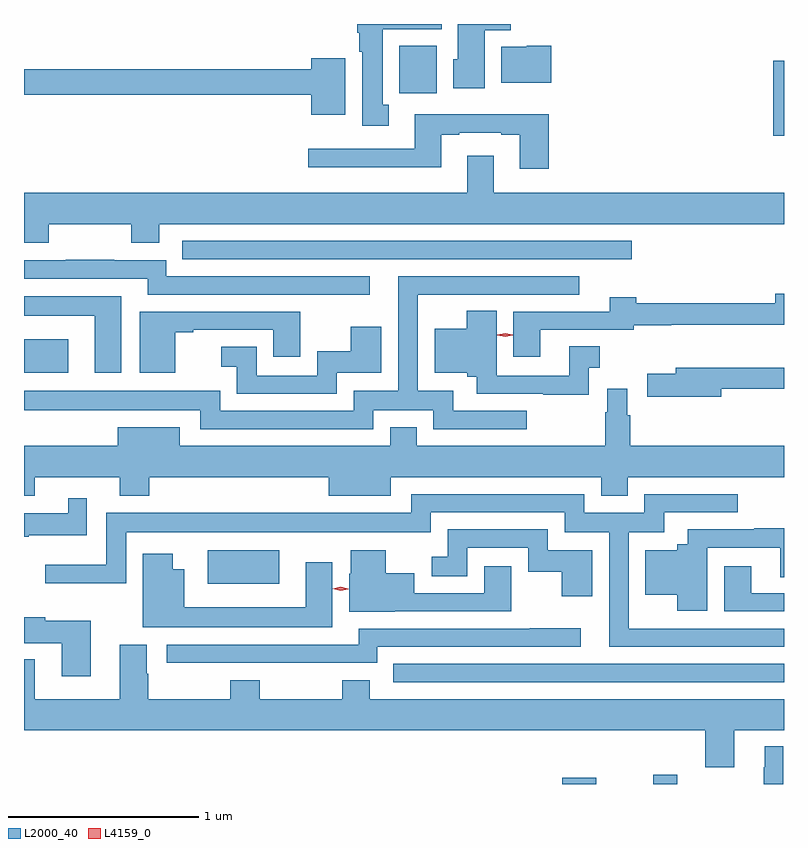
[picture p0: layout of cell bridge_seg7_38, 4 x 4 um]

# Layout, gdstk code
import gdstk
lib = gdstk.Library(unit=1e-6, precision=1e-09)
def R(c, l, rs):  # rectangles x0, y0, x1, y1
    for r in rs: c.add(gdstk.rectangle(r[:2], r[2:], *l))
def P(c, l, *ps):  # polygons
    for p in ps: c.add(gdstk.Polygon(p, *l))
L2000_40 = (2000, 40)
L4159_0 = (4159, 0)

bridge_seg7_38 = lib.new_cell('bridge_seg7_38')
R(bridge_seg7_38, L2000_40, [(997.832,1060.273,998.01,1060.306), (998.311,1060.273,998.437,1060.321), (996.942,1060.809,998.999,1060.905), (995.966,1061.327,996.343,1061.503), (994.999,1062.437,995.233,1062.613), (995.832,1063.035,998.197,1063.131), (998.942,1063.686,998.999,1064.08), (996.975,1063.908,997.171,1064.158)])
P(bridge_seg7_38, L2000_40, [(997.423,1064.24),(997.562,1064.24),(997.562,1064.273),(997.283,1064.273),(997.283,1064.088),(997.259,1064.088),(997.259,1063.934),(997.423,1063.934)],
  [(996.919,1063.849),(996.886,1063.849),(996.886,1064.246),(997.198,1064.246),(997.198,1064.273),(996.752,1064.273),(996.752,1064.226),(996.764,1064.226),(996.764,1064.126),(996.779,1064.126),(996.779,1063.737),(996.919,1063.737)],
  [(997.775,1064.158),(997.644,1064.158),(997.644,1064.152),(997.511,1064.152),(997.511,1063.964),(997.775,1063.964)],
  [(996.691,1064.092),(996.512,1064.092),(996.512,1064.036),(994.999,1064.036),(994.999,1063.9),(996.512,1063.9),(996.512,1063.796),(996.691,1063.796)],
  [(997.76,1063.798),(997.055,1063.798),(997.055,1063.617),(996.495,1063.617),(996.495,1063.52),(997.195,1063.52),(997.195,1063.689),(997.291,1063.689),(997.291,1063.701),(997.511,1063.701),(997.511,1063.689),(997.607,1063.689),(997.607,1063.512),(997.76,1063.512)],
  [(995.13,1063.22),(995.563,1063.22),(995.563,1063.121),(995.71,1063.121),(995.71,1063.22),(998.999,1063.22),(998.999,1063.384),(997.471,1063.384),(997.471,1063.579),(997.331,1063.579),(997.331,1063.384),(994.999,1063.384),(994.999,1063.121),(995.13,1063.121)],
  [(996.82,1062.945),(995.748,1062.945),(995.748,1063.029),(995.474,1063.029),(995.474,1063.031),(995.218,1063.031),(995.218,1063.029),(994.999,1063.029),(994.999,1062.933),(995.651,1062.933),(995.651,1062.849),(996.55,1062.849),(996.55,1062.848),(996.82,1062.848)],
  [(996.838,1062.239),(997.154,1062.239),(997.154,1062.141),(997.645,1062.141),(997.645,1062.237),(997.258,1062.237),(997.258,1062.343),(997.072,1062.343),(997.072,1062.849),(997.921,1062.849),(997.921,1062.945),(996.968,1062.945),(996.968,1062.343),(996.734,1062.343),(996.734,1062.237),(996.031,1062.237),(996.031,1062.343),(994.999,1062.343),(994.999,1062.239),(995.927,1062.239),(995.927,1062.141),(996.838,1062.141)],
  [(997.717,1062.663),(998.209,1062.663),(998.209,1062.688),(998.405,1062.688),(998.405,1062.691),(998.999,1062.691),(998.999,1062.852),(998.954,1062.852),(998.954,1062.802),(998.222,1062.802),(998.222,1062.835),(998.081,1062.835),(998.081,1062.759),(997.574,1062.759),(997.574,1062.522),(997.717,1062.522)],
  [(995.512,1062.841),(994.999,1062.841),(994.999,1062.737),(995.372,1062.737),(995.372,1062.438),(995.512,1062.438)],
  [(997.972,1062.463),(998.029,1062.463),(998.029,1062.578),(997.868,1062.578),(997.868,1062.423),(997.486,1062.423),(997.486,1062.764),(997.328,1062.764),(997.328,1062.67),(997.16,1062.67),(997.16,1062.437),(997.332,1062.437),(997.332,1062.416),(997.382,1062.416),(997.382,1062.327),(997.732,1062.327),(997.732,1062.322),(997.972,1062.322)],
  [(995.794,1062.651),(995.89,1062.651),(995.89,1062.663),(996.311,1062.663),(996.311,1062.522),(996.454,1062.522),(996.454,1062.759),(995.609,1062.759),(995.609,1062.437),(995.794,1062.437)],
  [(996.646,1062.437),(996.88,1062.437),(996.88,1062.679),(996.719,1062.679),(996.719,1062.551),(996.542,1062.551),(996.542,1062.423),(996.223,1062.423),(996.223,1062.574),(996.036,1062.574),(996.036,1062.47),(996.119,1062.47),(996.119,1062.327),(996.646,1062.327)],
  [(998.668,1062.354),(998.999,1062.354),(998.999,1062.465),(998.429,1062.465),(998.429,1062.433),(998.28,1062.433),(998.28,1062.311),(998.668,1062.311)],
  [(995.056,1061.888),(995.504,1061.888),(995.504,1061.789),(995.657,1061.789),(995.657,1061.888),(996.602,1061.888),(996.602,1061.789),(996.928,1061.789),(996.928,1061.888),(998.036,1061.888),(998.036,1061.789),(998.176,1061.789),(998.176,1061.888),(998.999,1061.888),(998.999,1062.052),(998.191,1062.052),(998.191,1062.215),(998.173,1062.215),(998.173,1062.352),(998.069,1062.352),(998.069,1062.23),(998.059,1062.23),(998.059,1062.052),(997.066,1062.052),(997.066,1062.151),(996.926,1062.151),(996.926,1062.052),(995.818,1062.052),(995.818,1062.151),(995.492,1062.151),(995.492,1062.052),(994.999,1062.052),(994.999,1061.789),(995.056,1061.789)],
  [(998.999,1061.091),(998.182,1061.091),(998.182,1061.597),(998.368,1061.597),(998.368,1061.703),(998.755,1061.703),(998.755,1061.799),(998.264,1061.799),(998.264,1061.701),(997.948,1061.701),(997.948,1061.799),(997.037,1061.799),(997.037,1061.701),(995.432,1061.701),(995.432,1061.428),(995.112,1061.428),(995.112,1061.33),(995.536,1061.33),(995.536,1061.597),(997.141,1061.597),(997.141,1061.703),(997.844,1061.703),(997.844,1061.597),(998.078,1061.597),(998.078,1060.995),(998.999,1060.995)],
  [(995.024,1061.582),(995.328,1061.582),(995.328,1061.776),(995.231,1061.776),(995.231,1061.698),(994.999,1061.698),(994.999,1061.575),(995.024,1061.575)],
  [(998.596,1061.517),(998.978,1061.517),(998.978,1061.362),(998.999,1061.362),(998.999,1061.618),(998.842,1061.618),(998.842,1061.613),(998.492,1061.613),(998.492,1061.536),(998.438,1061.536),(998.438,1061.503),(998.27,1061.503),(998.27,1061.27),(998.438,1061.27),(998.438,1061.184),(998.596,1061.184)],
  [(997.99,1061.503),(997.756,1061.503),(997.756,1061.613),(997.229,1061.613),(997.229,1061.47),(997.146,1061.47),(997.146,1061.366),(997.333,1061.366),(997.333,1061.517),(997.652,1061.517),(997.652,1061.389),(997.829,1061.389),(997.829,1061.262),(997.99,1061.262)],
  [(996.95,1061.181),(997.564,1061.181),(997.564,1061.419),(997.421,1061.419),(997.421,1061.277),(997.054,1061.277),(997.054,1061.383),(996.904,1061.383),(996.904,1061.503),(996.719,1061.503),(996.719,1061.379),(996.71,1061.379),(996.71,1061.18),(996.95,1061.18)],
  [(996.622,1061.44),(996.482,1061.44),(996.482,1061.203),(995.842,1061.203),(995.842,1061.404),(995.782,1061.404),(995.782,1061.485),(995.624,1061.485),(995.624,1061.099),(996.622,1061.099)],
  [(998.999,1061.277),(998.827,1061.277),(998.827,1061.419),(998.684,1061.419),(998.684,1061.181),(998.999,1061.181)],
  [(995.35,1061.131),(995.112,1061.131),(995.112,1061.151),(994.999,1061.151),(994.999,1061.015),(995.198,1061.015),(995.198,1060.839),(995.35,1060.839)],
  [(995.996,1060.911),(996.328,1060.911),(996.328,1060.91),(996.584,1060.91),(996.584,1060.911),(996.858,1060.911),(996.858,1060.995),(997.93,1060.995),(997.93,1061.092),(997.66,1061.092),(997.66,1061.091),(996.761,1061.091),(996.761,1061.007),(995.751,1061.007),(995.751,1060.91),(995.996,1060.91)],
  [(998.737,1060.556),(998.999,1060.556),(998.999,1060.72),(996.82,1060.72),(996.82,1060.819),(996.673,1060.819),(996.673,1060.72),(996.24,1060.72),(996.24,1060.819),(996.085,1060.819),(996.085,1060.72),(995.652,1060.72),(995.652,1060.854),(995.644,1060.854),(995.644,1061.005),(995.504,1061.005),(995.504,1060.72),(995.056,1060.72),(995.056,1060.93),(994.999,1060.93),(994.999,1060.556),(998.585,1060.556),(998.585,1060.362),(998.737,1060.362)],
  [(998.995,1060.471),(998.897,1060.471),(998.897,1060.361),(998.893,1060.361),(998.893,1060.273),(998.995,1060.273)])
P(bridge_seg7_38, L4159_0, [(997.531,1062.626),(997.491,1062.636),(997.49,1062.636),(997.491,1062.637),(997.531,1062.646),(997.572,1062.637),(997.572,1062.636),(997.572,1062.636)],
  [(996.665,1061.29),(996.625,1061.3),(996.624,1061.3),(996.625,1061.3),(996.665,1061.31),(996.705,1061.3),(996.705,1061.3),(996.705,1061.299)])

lib.write_gds('bridge_seg7_38.gds')
